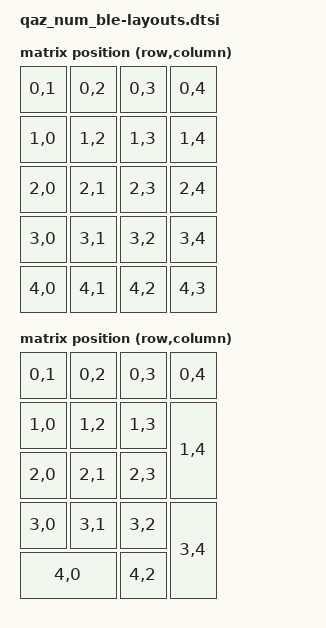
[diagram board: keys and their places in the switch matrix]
#include <physical_layouts.dtsi>

/ {
    numpad_layout:numpad_layout {
        compatible = "zmk,physical-layout";
        display-name = "NUMPAD";
        transform = <&default_transform0>;
        kscan = <&kscan0>;
        
        keys  //                     w   h    x    y     rot    rx    ry
            = <&key_physical_attrs 100 100    0    0       0     0     0>
            , <&key_physical_attrs 100 100  100    0       0     0     0>
            , <&key_physical_attrs 100 100  200    0       0     0     0>
            , <&key_physical_attrs 100 100  300    0       0     0     0>

            , <&key_physical_attrs 100 100    0  100       0     0     0>
            , <&key_physical_attrs 100 100  100  100       0     0     0>
            , <&key_physical_attrs 100 100  200  100       0     0     0>
            , <&key_physical_attrs 100 200  300  100       0     0     0>

            , <&key_physical_attrs 100 100    0  200       0     0     0>
            , <&key_physical_attrs 100 100  100  200       0     0     0>
            , <&key_physical_attrs 100 100  200  200       0     0     0>

            , <&key_physical_attrs 100 100    0  300       0     0     0>
            , <&key_physical_attrs 100 100  100  300       0     0     0>
            , <&key_physical_attrs 100 100  200  300       0     0     0>
            , <&key_physical_attrs 100 200  300  300       0     0     0>
            
            , <&key_physical_attrs 200 100    0  400       0     0     0>

            , <&key_physical_attrs 100 100  200  400       0     0     0>

            ;
    };

    macropad_layout: macropad_layout {
        compatible = "zmk,physical-layout";
        display-name = "MACROPAD";
        transform = <&default_transform>;
        kscan = <&kscan0>;
        
        keys  //                     w   h    x    y     rot    rx    ry
            = <&key_physical_attrs 100 100    0    0       0     0     0>
            , <&key_physical_attrs 100 100  100    0       0     0     0>
            , <&key_physical_attrs 100 100  200    0       0     0     0>
            , <&key_physical_attrs 100 100  300    0       0     0     0>

            , <&key_physical_attrs 100 100    0  100       0     0     0>
            , <&key_physical_attrs 100 100  100  100       0     0     0>
            , <&key_physical_attrs 100 100  200  100       0     0     0>
            , <&key_physical_attrs 100 100  300  100       0     0     0>

            , <&key_physical_attrs 100 100    0  200       0     0     0>
            , <&key_physical_attrs 100 100  100  200       0     0     0>
            , <&key_physical_attrs 100 100  200  200       0     0     0>
            , <&key_physical_attrs 100 100  300  200       0     0     0>

            , <&key_physical_attrs 100 100    0  300       0     0     0>
            , <&key_physical_attrs 100 100  100  300       0     0     0>
            , <&key_physical_attrs 100 100  200  300       0     0     0>
            , <&key_physical_attrs 100 100  300  300       0     0     0>

            , <&key_physical_attrs 100 100    0  400       0     0     0>
            , <&key_physical_attrs 100 100  100  400       0     0     0>
            , <&key_physical_attrs 100 100  200  400       0     0     0>
            , <&key_physical_attrs 100 100  300  400       0     0     0>
            ;
    };

    default_transform: default_transform {
        compatible = "zmk,matrix-transform";
        rows = <5>;
        columns = <5>;
        map = <
            /* row-0 */ RC(0,1) RC(0,2) RC(0,3) RC(0,4)
            /* row-1 */ RC(1,0) RC(1,2) RC(1,3) RC(1,4)
            /* row-2 */ RC(2,0) RC(2,1) RC(2,3) RC(2,4)
            /* row-3 */ RC(3,0) RC(3,1) RC(3,2) RC(3,4)
            /* row-4 */ RC(4,0) RC(4,1) RC(4,2) RC(4,3)
        >;
    };
    default_transform0: default_transform0 {
        compatible = "zmk,matrix-transform";
        rows = <5>;
        columns = <5>;
        map = <
            /* row-0 */ RC(0,1) RC(0,2) RC(0,3) RC(0,4)
            /* row-1 */ RC(1,0) RC(1,2) RC(1,3) RC(1,4)
            /* row-2 */ RC(2,0) RC(2,1) RC(2,3)
            /* row-3 */ RC(3,0) RC(3,1) RC(3,2) RC(3,4)
            /* row-4 */ RC(4,0)         RC(4,2)
        >;
    };

    position_map {
        compatible = "zmk,physical-layout-position-map";

        numpad_layout {
            physical-layout = <&numpad_layout>;
            positions
                = < 7 19 11 12>
                , <13 14 15 18>
                , <16 17>
                ;
        };

        macropad_layout {
            physical-layout = <&macropad_layout>;
            positions
                = < 7 11 12 13>
                , <14 15 16 17>
                , <18 19>
                ;
        };
    };
};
